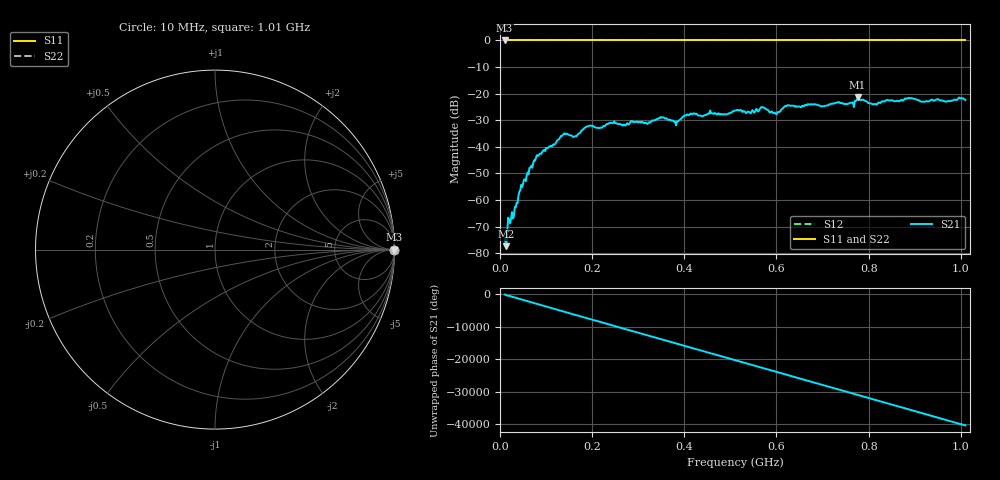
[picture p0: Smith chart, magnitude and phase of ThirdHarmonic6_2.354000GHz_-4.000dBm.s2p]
! 8/17/2025 3:33:59 AM
! C:\ANRITSUVNA\TEMP\TEMP.S2P
! CHANNEL.1
! TR.MEASUREMENT
! RAW.DATA
! RF.CORRECTION.OFF
! AVERAGING.OFF
! IF.BANDWIDTH: 5KHZ
! SWEEPTYPE:  FREQ.SWEEP(Linear)
! Reference Plane Port Info
! PORT:  PORT1  PORT2
! DISTANCE:  0  m  0  m
! TIME:  0  s  0  s
! PHASE.OFFSET:  0  deg.  0  deg.
! LOSS:  0  dB  0  dB
! REF.LOSS:  0  dB  0  dB
! REF.FREQ:  0  Hz  0  Hz
! Power Info
! POWER:  -20  dBm  -20  dBm
! EFF.POWER:  -20  dBm  -20  dBm
! SOURCE.ATTEN:  0  dB  0  dB
! TEST.ATTEN:  0  dB  0  dB
# GHZ S RI R 50.0
! FREQ.GHZ  S11RE  S11IM  S21RE  S21IM  S12RE  S12IM  S22RE  S22IM
!; PortSelection: Port_12
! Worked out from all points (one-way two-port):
!   501 points, 10 MHz to 1.01 GHz, reference 50 ohm
!   highest |S21| = -21.39 dB at 776 MHz (marker M1); lowest = -77.3 dB at 14 MHz (marker M2)
!   lowest |S11| = 0.0 dB at 10 MHz (marker M3)
!   |S11| at or under -10 dB: nowhere
!   |S22| runs from 0.0 to 0.0 dB; largest |S21 - S12| = 1.1
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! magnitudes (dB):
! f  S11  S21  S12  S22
! 10 MHz  0.0  -74.1  0.0  0.0
! 14 MHz  0.0  -77.3  0.0  0.0
! 22 MHz  0.0  -68.7  0.0  0.0
! 32 MHz  0.0  -62.7  0.0  0.0
! 48 MHz  0.0  -55.1  0.0  0.0
! 78 MHz  0.0  -44.2  0.0  0.0
! 136 MHz  0.0  -35.6  0.0  0.0
! 162 MHz  0.0  -36.1  0.0  0.0
! 178 MHz  0.0  -33.7  0.0  0.0
! 194 MHz  0.0  -32.0  0.0  0.0
! 344 MHz  0.0  -29.5  0.0  0.0
! 382 MHz  0.0  -31.9  0.0  0.0
! 416 MHz  0.0  -27.7  0.0  0.0
! 510 MHz  0.0  -26.4  0.0  0.0
! 570 MHz  0.0  -25.2  0.0  0.0
! 596 MHz  0.0  -27.1  0.0  0.0
! 622 MHz  0.0  -24.7  0.0  0.0
! 678 MHz  0.0  -24.1  0.0  0.0
! 776 MHz  0.0  -21.4  0.0  0.0
! 814 MHz  0.0  -23.9  0.0  0.0
! 844 MHz  0.0  -22.6  0.0  0.0
! 1.01 GHz  0.0  -22.4  0.0  0.0
